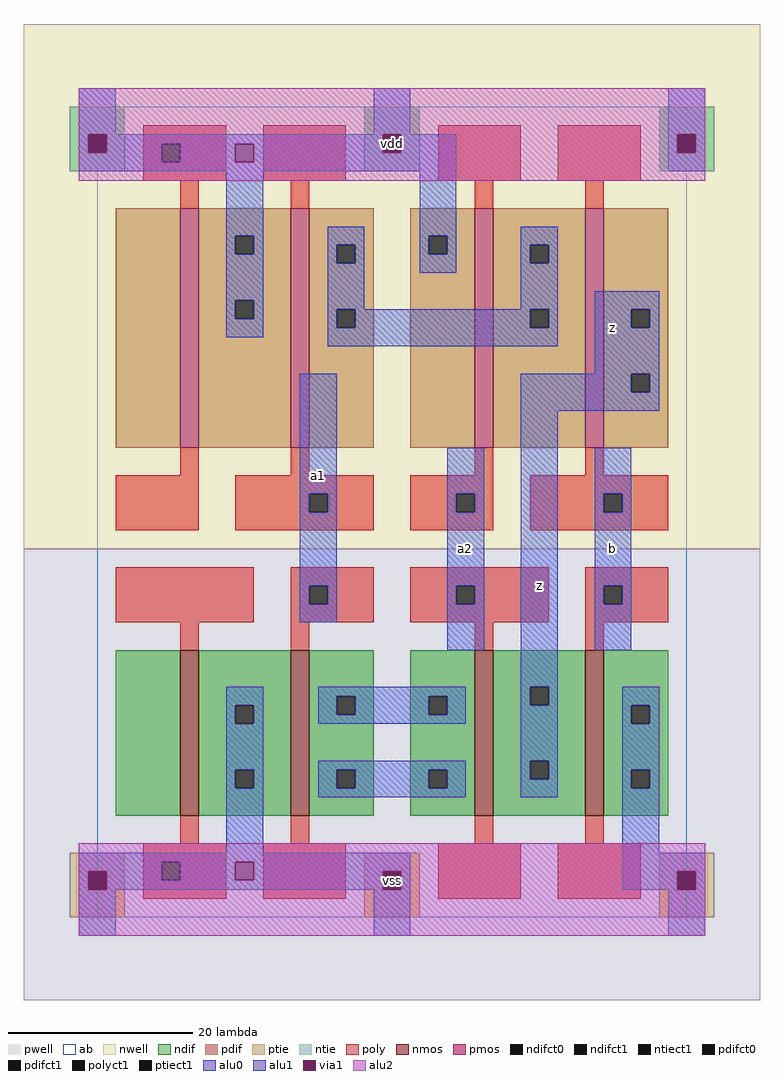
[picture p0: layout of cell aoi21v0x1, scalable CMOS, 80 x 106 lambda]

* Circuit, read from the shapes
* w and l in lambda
.subckt aoi21v0x1 a1 a2 b vdd vss z
M1 vss vss n1 vss nfet w=18 l=2
M2 n2 a1 vss vss nfet w=18 l=2
M3 z a2 n2 vss nfet w=18 l=2
M4 vss b z vss nfet w=18 l=2
M5 vdd vdd n3 vdd pfet w=26 l=2
M6 n4 a1 vdd vdd pfet w=26 l=2
M7 n4 a2 vdd vdd pfet w=26 l=2
M8 z b n4 vdd pfet w=26 l=2
.ends

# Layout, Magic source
magic
tech scmos
<< ab >>
rect 0 0 64 88
<< nwell >>
rect -8 40 72 97
<< pwell >>
rect -8 -9 72 40
<< poly >>
rect 5 84 14 86
rect 5 82 7 84
rect 9 82 14 84
rect 5 80 14 82
rect 18 80 27 86
rect 37 80 46 86
rect 50 80 59 86
rect 9 77 11 80
rect 21 77 23 80
rect 41 77 43 80
rect 53 77 55 80
rect 9 48 11 51
rect 21 48 23 51
rect 41 48 43 51
rect 53 48 55 51
rect 2 42 11 48
rect 15 46 30 48
rect 15 44 23 46
rect 25 44 30 46
rect 15 42 30 44
rect 34 46 43 48
rect 34 44 39 46
rect 41 44 43 46
rect 34 42 43 44
rect 47 46 62 48
rect 47 44 55 46
rect 57 44 62 46
rect 47 42 62 44
rect 2 32 17 38
rect 21 36 30 38
rect 21 34 23 36
rect 25 34 30 36
rect 21 32 30 34
rect 34 36 49 38
rect 34 34 39 36
rect 41 34 49 36
rect 34 32 49 34
rect 53 36 62 38
rect 53 34 55 36
rect 57 34 62 36
rect 53 32 62 34
rect 9 29 11 32
rect 21 29 23 32
rect 41 29 43 32
rect 53 29 55 32
rect 9 8 11 11
rect 21 8 23 11
rect 41 8 43 11
rect 53 8 55 11
rect 5 6 14 8
rect 5 4 7 6
rect 9 4 14 6
rect 5 2 14 4
rect 18 2 27 8
rect 37 2 46 8
rect 50 2 59 8
<< ndif >>
rect 2 11 9 29
rect 11 23 21 29
rect 11 21 15 23
rect 17 21 21 23
rect 11 16 21 21
rect 11 14 15 16
rect 17 14 21 16
rect 11 11 21 14
rect 23 24 30 29
rect 23 22 26 24
rect 28 22 30 24
rect 23 16 30 22
rect 23 14 26 16
rect 28 14 30 16
rect 23 11 30 14
rect 34 24 41 29
rect 34 22 36 24
rect 38 22 41 24
rect 34 16 41 22
rect 34 14 36 16
rect 38 14 41 16
rect 34 11 41 14
rect 43 25 53 29
rect 43 23 47 25
rect 49 23 53 25
rect 43 17 53 23
rect 43 15 47 17
rect 49 15 53 17
rect 43 11 53 15
rect 55 23 62 29
rect 55 21 58 23
rect 60 21 62 23
rect 55 16 62 21
rect 55 14 58 16
rect 60 14 62 16
rect 55 11 62 14
<< pdif >>
rect 2 51 9 77
rect 11 74 21 77
rect 11 72 15 74
rect 17 72 21 74
rect 11 67 21 72
rect 11 65 15 67
rect 17 65 21 67
rect 11 51 21 65
rect 23 73 30 77
rect 23 71 26 73
rect 28 71 30 73
rect 23 66 30 71
rect 23 64 26 66
rect 28 64 30 66
rect 23 51 30 64
rect 34 74 41 77
rect 34 72 36 74
rect 38 72 41 74
rect 34 51 41 72
rect 43 73 53 77
rect 43 71 47 73
rect 49 71 53 73
rect 43 66 53 71
rect 43 64 47 66
rect 49 64 53 66
rect 43 51 53 64
rect 55 66 62 77
rect 55 64 58 66
rect 60 64 62 66
rect 55 59 62 64
rect 55 57 58 59
rect 60 57 62 59
rect 55 51 62 57
<< alu1 >>
rect -2 85 2 90
rect 30 85 34 90
rect 62 85 66 90
rect -2 83 -1 85
rect 1 84 31 85
rect 1 83 7 84
rect -2 82 7 83
rect 9 82 15 84
rect 17 83 31 84
rect 33 83 39 85
rect 17 82 39 83
rect -2 81 39 82
rect 62 83 63 85
rect 65 83 66 85
rect 62 81 66 83
rect 14 74 18 81
rect 14 72 15 74
rect 17 72 18 74
rect 14 67 18 72
rect 14 65 15 67
rect 17 65 18 67
rect 14 63 18 65
rect 35 74 39 81
rect 35 72 36 74
rect 38 72 39 74
rect 35 70 39 72
rect 54 66 61 68
rect 54 64 58 66
rect 60 64 61 66
rect 54 59 61 64
rect 22 46 26 59
rect 46 57 58 59
rect 60 57 61 59
rect 46 55 61 57
rect 22 44 23 46
rect 25 44 26 46
rect 22 36 26 44
rect 22 34 23 36
rect 25 34 26 36
rect 22 32 26 34
rect 38 46 42 51
rect 38 44 39 46
rect 41 44 42 46
rect 38 36 42 44
rect 38 34 39 36
rect 41 34 42 36
rect 38 29 42 34
rect 46 25 50 55
rect 54 46 58 51
rect 54 44 55 46
rect 57 44 58 46
rect 54 36 58 44
rect 54 34 55 36
rect 57 34 58 36
rect 54 29 58 34
rect 14 23 18 25
rect 14 21 15 23
rect 17 21 18 23
rect 46 23 47 25
rect 49 23 50 25
rect 14 16 18 21
rect 46 17 50 23
rect 14 14 15 16
rect 17 14 18 16
rect 14 7 18 14
rect 46 15 47 17
rect 49 15 50 17
rect 46 13 50 15
rect 57 23 61 25
rect 57 21 58 23
rect 60 21 61 23
rect 57 16 61 21
rect 57 14 58 16
rect 60 14 61 16
rect 57 7 61 14
rect -2 6 34 7
rect -2 5 7 6
rect -2 3 -1 5
rect 1 4 7 5
rect 9 4 15 6
rect 17 5 34 6
rect 17 4 31 5
rect 1 3 31 4
rect 33 3 34 5
rect 57 5 66 7
rect 57 3 63 5
rect 65 3 66 5
rect -2 -2 2 3
rect 30 -2 34 3
rect 62 -2 66 3
<< alu2 >>
rect -2 85 66 90
rect -2 83 -1 85
rect 1 84 31 85
rect 1 83 15 84
rect -2 82 15 83
rect 17 83 31 84
rect 33 83 63 85
rect 65 83 66 85
rect 17 82 66 83
rect -2 80 66 82
rect -2 6 66 8
rect -2 5 15 6
rect -2 3 -1 5
rect 1 4 15 5
rect 17 5 66 6
rect 17 4 31 5
rect 1 3 31 4
rect 33 3 63 5
rect 65 3 66 5
rect -2 -2 66 3
<< ptie >>
rect -3 5 3 7
rect -3 3 -1 5
rect 1 3 3 5
rect -3 0 3 3
rect 29 5 35 7
rect 29 3 31 5
rect 33 3 35 5
rect 29 0 35 3
rect 61 5 67 7
rect 61 3 63 5
rect 65 3 67 5
rect 61 0 67 3
<< ntie >>
rect -3 85 3 88
rect -3 83 -1 85
rect 1 83 3 85
rect -3 81 3 83
rect 29 85 35 88
rect 29 83 31 85
rect 33 83 35 85
rect 29 81 35 83
rect 61 85 67 88
rect 61 83 63 85
rect 65 83 67 85
rect 61 81 67 83
<< nmos >>
rect 9 11 11 29
rect 21 11 23 29
rect 41 11 43 29
rect 53 11 55 29
<< pmos >>
rect 9 51 11 77
rect 21 51 23 77
rect 41 51 43 77
rect 53 51 55 77
<< polyct1 >>
rect 7 82 9 84
rect 23 44 25 46
rect 39 44 41 46
rect 55 44 57 46
rect 23 34 25 36
rect 39 34 41 36
rect 55 34 57 36
rect 7 4 9 6
<< ndifct0 >>
rect 26 22 28 24
rect 26 14 28 16
rect 36 22 38 24
rect 36 14 38 16
<< ndifct1 >>
rect 15 21 17 23
rect 15 14 17 16
rect 47 23 49 25
rect 47 15 49 17
rect 58 21 60 23
rect 58 14 60 16
<< ntiect1 >>
rect -1 83 1 85
rect 31 83 33 85
rect 63 83 65 85
<< ptiect1 >>
rect -1 3 1 5
rect 31 3 33 5
rect 63 3 65 5
<< pdifct0 >>
rect 26 71 28 73
rect 26 64 28 66
rect 47 71 49 73
rect 47 64 49 66
<< pdifct1 >>
rect 15 72 17 74
rect 15 65 17 67
rect 36 72 38 74
rect 58 64 60 66
rect 58 57 60 59
<< alu0 >>
rect 25 73 29 75
rect 25 71 26 73
rect 28 71 29 73
rect 25 66 29 71
rect 46 73 50 75
rect 46 71 47 73
rect 49 71 50 73
rect 46 66 50 71
rect 25 64 26 66
rect 28 64 47 66
rect 49 64 50 66
rect 25 62 50 64
rect 24 24 40 25
rect 24 22 26 24
rect 28 22 36 24
rect 38 22 40 24
rect 24 21 40 22
rect 24 16 40 17
rect 24 14 26 16
rect 28 14 36 16
rect 38 14 40 16
rect 24 13 40 14
<< via1 >>
rect -1 83 1 85
rect 15 82 17 84
rect 31 83 33 85
rect 63 83 65 85
rect -1 3 1 5
rect 15 4 17 6
rect 31 3 33 5
rect 63 3 65 5
<< labels >>
rlabel alu1 24 48 24 48 6 a1
rlabel alu1 40 40 40 40 6 a2
rlabel alu1 48 36 48 36 6 z
rlabel alu1 56 40 56 40 6 b
rlabel alu1 56 64 56 64 6 z
rlabel via1 32 4 32 4 6 vss
rlabel via1 32 84 32 84 6 vdd
<< end >>
